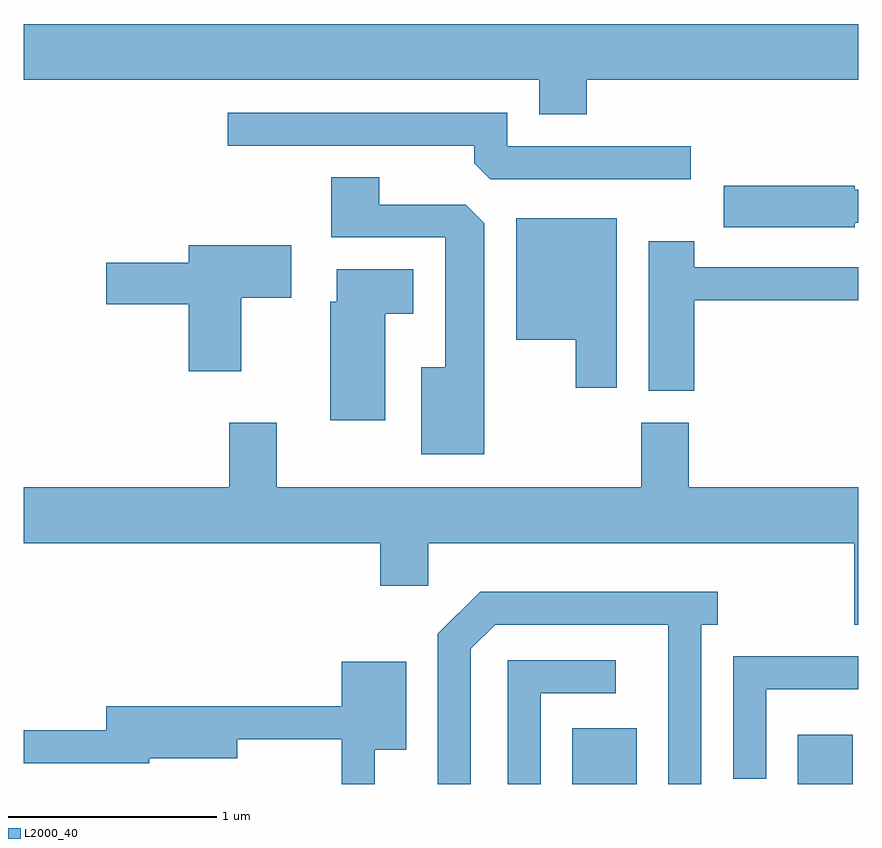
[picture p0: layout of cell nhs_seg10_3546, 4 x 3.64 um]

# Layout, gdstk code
import gdstk
lib = gdstk.Library(unit=1e-6, precision=1e-09)
def R(c, l, rs):  # rectangles x0, y0, x1, y1
    for r in rs: c.add(gdstk.rectangle(r[:2], r[2:], *l))
def P(c, l, *ps):  # polygons
    for p in ps: c.add(gdstk.Polygon(p, *l))
L2000_40 = (2000, 40)

nhs_seg10_3546 = lib.new_cell('nhs_seg10_3546')
R(nhs_seg10_3546, L2000_40, [(292.241,2130.522,292.549,2130.789), (293.321,2130.522,293.584,2130.759)])
P(nhs_seg10_3546, L2000_40, [(292.309,2133.896),(293.611,2133.896),(293.611,2134.164),(289.611,2134.164),(289.611,2133.896),(292.081,2133.896),(292.081,2133.731),(292.309,2133.731)],
  [(292.808,2133.579),(291.929,2133.579),(291.929,2133.739),(290.588,2133.739),(290.588,2133.581),(291.771,2133.581),(291.771,2133.497),(291.847,2133.421),(292.808,2133.421)],
  [(291.819,2133.209),(291.729,2133.299),(291.314,2133.299),(291.314,2133.429),(291.086,2133.429),(291.086,2133.141),(291.631,2133.141),(291.631,2132.519),(291.516,2132.519),(291.516,2132.101),(291.819,2132.101)],
  [(293.594,2133.211),(293.611,2133.211),(293.611,2133.369),(293.594,2133.369),(293.594,2133.389),(292.966,2133.389),(292.966,2133.191),(293.594,2133.191)],
  [(292.454,2133.234),(291.971,2133.234),(291.971,2132.651),(292.256,2132.651),(292.256,2132.421),(292.454,2132.421)],
  [(292.824,2132.841),(293.611,2132.841),(293.611,2132.999),(292.824,2132.999),(292.824,2133.124),(292.606,2133.124),(292.606,2132.406),(292.824,2132.406)],
  [(290.654,2132.851),(290.894,2132.851),(290.894,2133.104),(290.401,2133.104),(290.401,2133.019),(290.006,2133.019),(290.006,2132.821),(290.401,2132.821),(290.401,2132.501),(290.654,2132.501)],
  [(291.344,2132.776),(291.479,2132.776),(291.479,2132.989),(291.111,2132.989),(291.111,2132.834),(291.081,2132.834),(291.081,2132.266),(291.344,2132.266)],
  [(293.611,2131.944),(292.799,2131.944),(292.799,2132.254),(292.571,2132.254),(292.571,2131.944),(290.824,2131.944),(290.824,2132.254),(290.596,2132.254),(290.596,2131.944),(289.611,2131.944),(289.611,2131.676),(291.321,2131.676),(291.321,2131.471),(291.549,2131.471),(291.549,2131.676),(293.591,2131.676),(293.591,2131.286),(293.611,2131.286)],
  [(291.754,2131.169),(291.872,2131.286),(292.701,2131.286),(292.701,2130.522),(292.859,2130.522),(292.859,2131.286),(292.938,2131.286),(292.938,2131.444),(291.799,2131.444),(291.596,2131.242),(291.596,2130.522),(291.754,2130.522)],
  [(293.169,2130.976),(293.611,2130.976),(293.611,2131.134),(293.011,2131.134),(293.011,2130.548),(293.169,2130.548)],
  [(292.089,2130.956),(292.448,2130.956),(292.448,2131.114),(291.931,2131.114),(291.931,2130.522),(292.089,2130.522)],
  [(291.294,2130.686),(291.444,2130.686),(291.444,2131.109),(291.136,2131.109),(291.136,2130.894),(290.006,2130.894),(290.006,2130.779),(289.611,2130.779),(289.611,2130.621),(290.214,2130.621),(290.214,2130.646),(290.634,2130.646),(290.634,2130.736),(291.136,2130.736),(291.136,2130.522),(291.294,2130.522)])

lib.write_gds('nhs_seg10_3546.gds')
